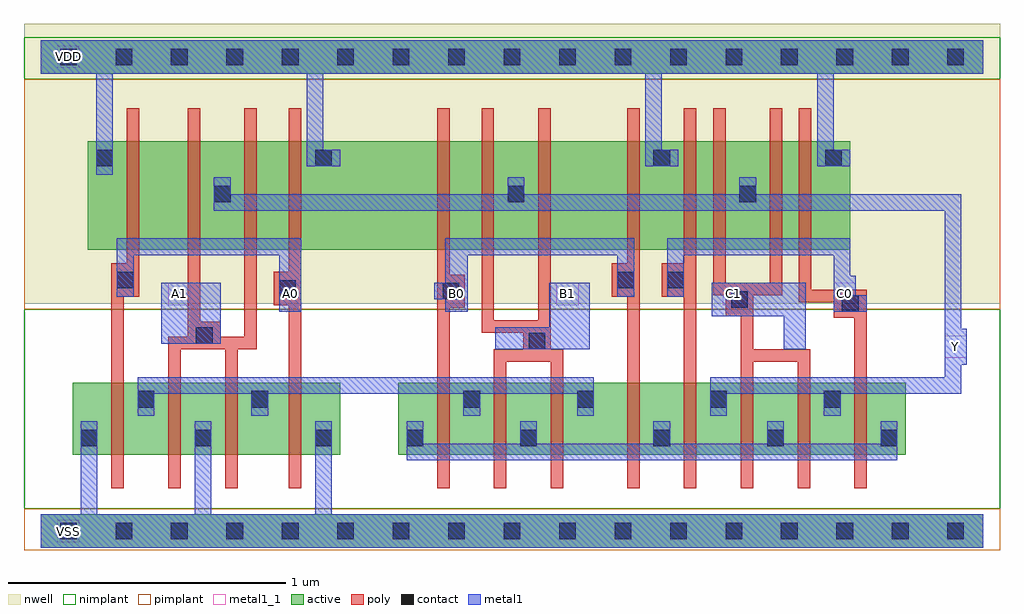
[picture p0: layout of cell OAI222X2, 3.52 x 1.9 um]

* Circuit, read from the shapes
.subckt OAI222X2 A0 A1 B0 B1 C0 C1 VDD VSS Y
M1 n1 A0 VSS VSS nfet w=0.26u l=0.045u m=2
M2 VSS A1 n1 VSS nfet w=0.26u l=0.045u m=2
M3 n1 B0 n2 VSS nfet w=0.26u l=0.045u m=2
M4 n2 B1 n1 VSS nfet w=0.26u l=0.045u m=2
M5 Y C0 n2 VSS nfet w=0.26u l=0.045u m=2
M6 n2 C1 Y VSS nfet w=0.26u l=0.045u m=2
M7 n3 A0 VDD VDD pfet w=0.39u l=0.045u
M8 Y A1 n3 VDD pfet w=0.39u l=0.045u
M9 n4 A1 Y VDD pfet w=0.39u l=0.045u
M10 VDD A0 n4 VDD pfet w=0.39u l=0.045u
M11 n5 B0 VDD VDD pfet w=0.39u l=0.045u
M12 Y B1 n5 VDD pfet w=0.39u l=0.045u
M13 n6 B1 Y VDD pfet w=0.39u l=0.045u
M14 VDD B0 n6 VDD pfet w=0.39u l=0.045u
M15 n7 C0 VDD VDD pfet w=0.39u l=0.045u
M16 Y C1 n7 VDD pfet w=0.39u l=0.045u
M17 n8 C1 Y VDD pfet w=0.39u l=0.045u
M18 VDD C0 n8 VDD pfet w=0.39u l=0.045u
.ends

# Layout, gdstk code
import gdstk
lib = gdstk.Library(unit=1e-6, precision=5e-10)
def R(c, l, rs):  # rectangles x0, y0, x1, y1
    for r in rs: c.add(gdstk.rectangle(r[:2], r[2:], *l))
def A(c, l, x, y, w, h, nx, ny, dx, dy):  # array of equal rectangles
    R(c, l, [(x+i*dx, y+j*dy, x+i*dx+w, y+j*dy+h) for i in range(nx) for j in range(ny)])
def P(c, l, *ps):  # polygons
    for p in ps: c.add(gdstk.Polygon(p, *l))
active = (1, 0)
nwell = (2, 0)
poly = (3, 0)
nimplant = (4, 0)
pimplant = (5, 0)
contact = (6, 0)
metal1 = (7, 0)
metal1_1 = (7, 1)

oai222x2 = lib.new_cell('OAI222X2')
R(oai222x2, active, [(0,-0.06,3.4,0.06), (0.115,0.275,1.08,0.535), (1.29,0.275,3.12,0.535), (0.17,1.015,2.92,1.405), (0,1.65,3.4,1.77)])
R(oai222x2, nwell, [(-0.06,0.82,3.46,1.83)])
P(oai222x2, poly, [(0.31,1.525),(0.355,1.525),(0.355,0.845),(0.3,0.845),(0.3,0.155),(0.255,0.155),(0.255,0.965),(0.31,0.965)],
  [(0.53,1.525),(0.575,1.525),(0.575,0.755),(0.65,0.755),(0.65,0.7),(0.735,0.7),(0.735,1.525),(0.78,1.525),(0.78,0.655),(0.71,0.655),(0.71,0.155),(0.665,0.155),(0.665,0.655),(0.505,0.655),(0.505,0.155),(0.46,0.155),(0.46,0.7),(0.53,0.7)],
  [(0.895,1.525),(0.94,1.525),(0.94,0.155),(0.895,0.155),(0.895,0.815),(0.84,0.815),(0.84,0.935),(0.895,0.935)],
  [(1.43,1.525),(1.475,1.525),(1.475,0.925),(1.53,0.925),(1.53,0.805),(1.475,0.805),(1.475,0.155),(1.43,0.155)],
  [(1.59,1.525),(1.635,1.525),(1.635,0.76),(1.795,0.76),(1.795,1.525),(1.84,1.525),(1.84,0.655),(1.885,0.655),(1.885,0.155),(1.84,0.155),(1.84,0.61),(1.68,0.61),(1.68,0.155),(1.635,0.155),(1.635,0.655),(1.74,0.655),(1.74,0.715),(1.59,0.715)],
  [(2.115,1.525),(2.16,1.525),(2.16,0.155),(2.115,0.155),(2.115,0.845),(2.06,0.845),(2.06,0.965),(2.115,0.965)],
  [(2.32,1.525),(2.365,1.525),(2.365,0.155),(2.32,0.155),(2.32,0.845),(2.24,0.845),(2.24,0.965),(2.32,0.965)],
  [(2.425,1.525),(2.47,1.525),(2.47,0.895),(2.63,0.895),(2.63,1.525),(2.675,1.525),(2.675,0.85),(2.57,0.85),(2.57,0.655),(2.775,0.655),(2.775,0.155),(2.73,0.155),(2.73,0.61),(2.57,0.61),(2.57,0.155),(2.525,0.155),(2.525,0.775),(2.47,0.775),(2.47,0.85),(2.425,0.85)],
  [(2.735,1.525),(2.78,1.525),(2.78,0.87),(2.98,0.87),(2.98,0.155),(2.935,0.155),(2.935,0.77),(2.86,0.77),(2.86,0.825),(2.735,0.825)])
R(oai222x2, nimplant, [(-0.06,0.08,3.46,0.8), (-0.06,1.63,3.46,1.78)])
R(oai222x2, pimplant, [(-0.06,-0.07,3.46,0.08), (-0.06,0.8,3.46,1.63)])
A(oai222x2, contact, 0.07, -0.03, 0.06, 0.06, 17, 2, 0.2, 1.71)
A(oai222x2, contact, 2.21, 0.305, 0.06, 0.06, 3, 1, 0.41, 0)
R(oai222x2, contact, [(0.145,0.305,0.205,0.365), (0.555,0.305,0.615,0.365), (0.99,0.305,1.05,0.365), (1.32,0.305,1.38,0.365), (1.73,0.305,1.79,0.365), (0.35,0.445,0.41,0.505), (0.76,0.445,0.82,0.505), (1.525,0.445,1.585,0.505), (1.935,0.445,1.995,0.505), (2.415,0.445,2.475,0.505), (2.825,0.445,2.885,0.505), (1.76,0.655,1.82,0.715), (0.56,0.675,0.62,0.735), (2.89,0.79,2.95,0.85), (2.49,0.805,2.55,0.865), (1.45,0.835,1.51,0.895), (0.86,0.845,0.92,0.905), (0.275,0.875,0.335,0.935), (2.08,0.875,2.14,0.935), (2.26,0.875,2.32,0.935), (0.625,1.185,0.685,1.245), (1.685,1.185,1.745,1.245), (2.52,1.185,2.58,1.245), (0.2,1.315,0.26,1.375), (0.99,1.315,1.05,1.375), (2.21,1.315,2.27,1.375), (2.83,1.315,2.89,1.375)])
R(oai222x2, metal1, [(0.435,0.675,0.65,0.895)])
P(oai222x2, metal1, [(0,1.77),(3.4,1.77),(3.4,1.65),(2.86,1.65),(2.86,1.375),(2.92,1.375),(2.92,1.315),(2.8,1.315),(2.8,1.65),(2.24,1.65),(2.24,1.375),(2.3,1.375),(2.3,1.315),(2.18,1.315),(2.18,1.65),(1.02,1.65),(1.02,1.375),(1.08,1.375),(1.08,1.315),(0.96,1.315),(0.96,1.65),(0.26,1.65),(0.26,1.285),(0.2,1.285),(0.2,1.65),(0,1.65)],
  [(0.625,1.275),(0.685,1.275),(0.685,1.215),(1.685,1.215),(1.685,1.275),(1.745,1.275),(1.745,1.215),(2.52,1.215),(2.52,1.275),(2.58,1.275),(2.58,1.215),(3.32,1.215),(3.32,0.73),(3.34,0.73),(3.34,0.6),(3.32,0.6),(3.32,0.495),(2.885,0.495),(2.885,0.415),(2.825,0.415),(2.825,0.495),(2.475,0.495),(2.475,0.415),(2.415,0.415),(2.415,0.555),(3.26,0.555),(3.26,1.155),(0.625,1.155)],
  [(0.275,1.055),(0.94,1.055),(0.94,0.79),(0.86,0.79),(0.86,0.995),(0.335,0.995),(0.335,0.845),(0.275,0.845)],
  [(1.46,1.055),(2.14,1.055),(2.14,0.845),(2.08,0.845),(2.08,0.995),(1.54,0.995),(1.54,0.79),(1.46,0.79),(1.46,0.835),(1.42,0.835),(1.42,0.895),(1.46,0.895)],
  [(1.835,0.895),(1.98,0.895),(1.98,0.655),(1.64,0.655),(1.64,0.735),(1.835,0.735)],
  [(2.26,1.055),(2.92,1.055),(2.92,0.92),(2.94,0.92),(2.94,0.85),(2.98,0.85),(2.98,0.79),(2.86,0.79),(2.86,0.995),(2.32,0.995),(2.32,0.845),(2.26,0.845)],
  [(2.42,0.895),(2.76,0.895),(2.76,0.655),(2.68,0.655),(2.68,0.775),(2.42,0.775)],
  [(0.35,0.555),(1.995,0.555),(1.995,0.415),(1.935,0.415),(1.935,0.495),(1.585,0.495),(1.585,0.415),(1.525,0.415),(1.525,0.495),(0.82,0.495),(0.82,0.415),(0.76,0.415),(0.76,0.495),(0.41,0.495),(0.41,0.415),(0.35,0.415)],
  [(0.145,0.395),(0.205,0.395),(0.205,0.06),(0.555,0.06),(0.555,0.395),(0.615,0.395),(0.615,0.06),(0.99,0.06),(0.99,0.395),(1.05,0.395),(1.05,0.06),(3.4,0.06),(3.4,-0.06),(0,-0.06),(0,0.06),(0.145,0.06)],
  [(1.32,0.395),(1.38,0.395),(1.38,0.315),(1.73,0.315),(1.73,0.395),(1.79,0.395),(1.79,0.315),(2.21,0.315),(2.21,0.395),(2.27,0.395),(2.27,0.315),(2.62,0.315),(2.62,0.395),(2.68,0.395),(2.68,0.315),(3.03,0.315),(3.03,0.395),(3.09,0.395),(3.09,0.255),(1.32,0.255)])
R(oai222x2, metal1_1, [(0.06,-0.04,0.14,0.04), (3.26,0.625,3.34,0.705), (0.46,0.815,0.54,0.895), (0.86,0.815,0.94,0.895), (1.46,0.815,1.54,0.895), (1.86,0.815,1.94,0.895), (2.46,0.815,2.54,0.895), (2.86,0.815,2.94,0.895), (0.06,1.67,0.14,1.75)])
oai222x2.add(gdstk.Label('Y', (3.3,0.665), layer=7, texttype=1))
oai222x2.add(gdstk.Label('A0', (0.9,0.855), layer=7, texttype=1))
oai222x2.add(gdstk.Label('B0', (1.5,0.855), layer=7, texttype=1))
oai222x2.add(gdstk.Label('C0', (2.9,0.855), layer=7, texttype=1))
oai222x2.add(gdstk.Label('A1', (0.5,0.855), layer=7, texttype=1))
oai222x2.add(gdstk.Label('C1', (2.5,0.855), layer=7, texttype=1))
oai222x2.add(gdstk.Label('B1', (1.9,0.855), layer=7, texttype=1))
oai222x2.add(gdstk.Label('VDD', (0.1,1.71), layer=7, texttype=1))
oai222x2.add(gdstk.Label('VSS', (0.1,0), layer=7, texttype=1))
oai222x2.add(gdstk.Label('OAI222X2', (0,0), layer=63, texttype=0))

lib.write_gds('OAI222X2.gds')
